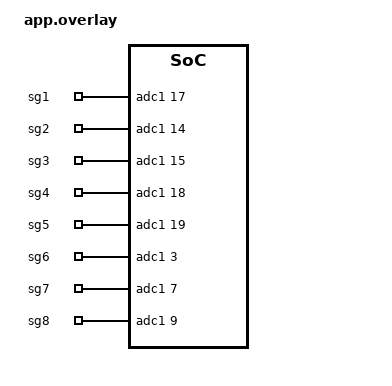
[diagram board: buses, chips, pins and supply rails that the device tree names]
/ {
    zephyr,user {
        io-channels = <&adc1 17>, <&adc1 14>, <&adc1 15>,
                      <&adc1 18>, <&adc1 19>, <&adc1 3>,
                      <&adc1 7>,  <&adc1 9>,  <&adc1 5>;
        io-channel-names = "sg1", "sg2", "sg3",
                           "sg4", "sg5", "sg6",
                           "sg7", "sg8", "sg9";
    };
};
